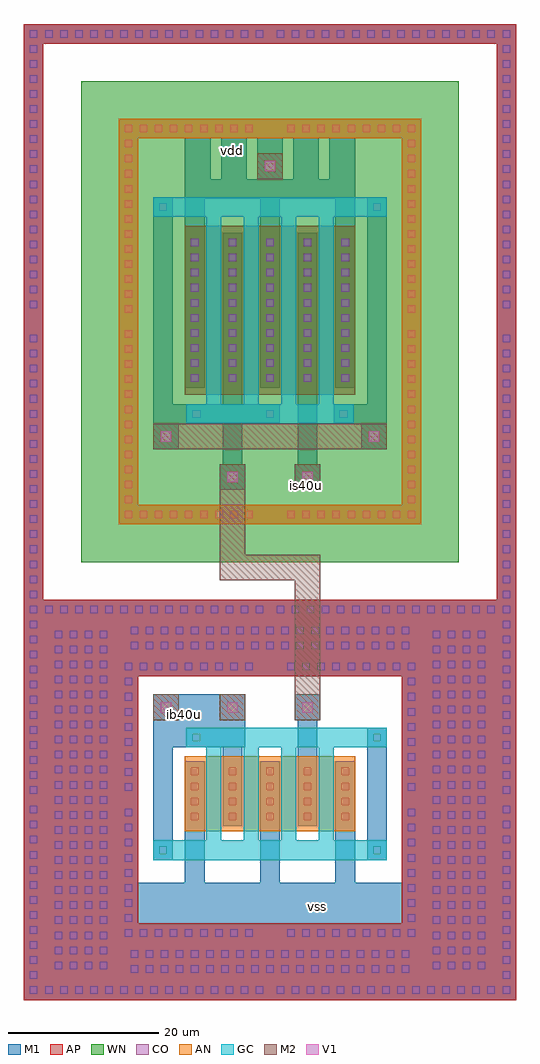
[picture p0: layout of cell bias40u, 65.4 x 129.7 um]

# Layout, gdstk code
import gdstk
lib = gdstk.Library(unit=1e-6, precision=1e-09)
def R(c, l, rs):  # rectangles x0, y0, x1, y1
    for r in rs: c.add(gdstk.rectangle(r[:2], r[2:], *l))
def A(c, l, x, y, w, h, nx, ny, dx, dy):  # array of equal rectangles
    R(c, l, [(x+i*dx, y+j*dy, x+i*dx+w, y+j*dy+h) for i in range(nx) for j in range(ny)])
def P(c, l, *ps):  # polygons
    for p in ps: c.add(gdstk.Polygon(p, *l))
AP = (3, 1)
AN = (3, 2)
GC = (8, 1)
CO = (11, 0)
M1 = (13, 0)
V1 = (19, 0)
M2 = (20, 0)
WN = (140, 0)

cont_g = lib.new_cell('cont_g')
R(cont_g, GC, [(-1.3,-1.3,1.3,1.3)])
R(cont_g, CO, [(-0.5,-0.5,0.5,0.5)])
R(cont_g, M1, [(-1.3,-1.3,1.3,1.3)])

cont_p_20 = lib.new_cell('cont_p$20')
P(cont_p_20, AP, [(-32.7,-39.55),(-32.7,36.95),(-30.1,36.95),(-30.1,-36.95),(30.1,-36.95),(30.1,36.95),(-32.7,36.95),(-32.7,39.55),(32.7,39.55),(32.7,-39.55)])
A(cont_p_20, CO, -31.9, -38.75, 1, 1, 1, 19, 0, 2)
A(cont_p_20, CO, -31.9, -38.75, 1, 1, 16, 2, 2, 76.5)
A(cont_p_20, CO, 0.9, -38.75, 1, 1, 16, 2, 2, 76.5)
A(cont_p_20, CO, 30.9, -38.75, 1, 1, 1, 19, 0, 2)
A(cont_p_20, CO, -31.9, 1.75, 1, 1, 1, 19, 0, 2)
A(cont_p_20, CO, 30.9, 1.75, 1, 1, 1, 19, 0, 2)
P(cont_p_20, M1, [(-32.7,-39.55),(-32.7,36.95),(-30.1,36.95),(-30.1,-36.95),(30.1,-36.95),(30.1,36.95),(-32.7,36.95),(-32.7,39.55),(32.7,39.55),(32.7,-39.55)])

via_1 = lib.new_cell('via_1')
R(via_1, M1, [(-1.7,-1.7,1.7,1.7)])
R(via_1, V1, [(-0.7,-0.7,0.7,0.7)])
R(via_1, M2, [(-1.7,-1.7,1.7,1.7)])

fet_p_6 = lib.new_cell('fet_p$6')
R(fet_p_6, AP, [(-6.3,-11.25,6.3,11.25)])
A(fet_p_6, CO, -5.5, -9.5, 1, 1, 3, 10, 5, 2)
A(fet_p_6, M1, -6.3, -10.3, 2.6, 20.6, 3, 1, 5, 0)
fet_p_6.add(gdstk.FlexPath([(2.5,-12.45),(2.5,12.45)], 2, ends="flush", simple_path=True, layer=8, datatype=1))  # GC
fet_p_6.add(gdstk.FlexPath([(-2.5,-12.45),(-2.5,12.45)], 2, ends="flush", simple_path=True, layer=8, datatype=1))  # GC

cont_n_7 = lib.new_cell('cont_n$7')
P(cont_n_7, AN, [(-20.1,-26.95),(-20.1,24.35),(-17.5,24.35),(-17.5,-24.35),(17.5,-24.35),(17.5,24.35),(-20.1,24.35),(-20.1,26.95),(20.1,26.95),(20.1,-26.95)])
A(cont_n_7, CO, -19.3, -26.15, 1, 1, 1, 13, 0, 2)
A(cont_n_7, CO, -19.3, -26.15, 1, 1, 9, 2, 2, 51.3)
A(cont_n_7, CO, 2.3, -26.15, 1, 1, 9, 2, 2, 51.3)
A(cont_n_7, CO, 18.3, -26.15, 1, 1, 1, 13, 0, 2)
A(cont_n_7, CO, -19.3, 1.15, 1, 1, 1, 13, 0, 2)
A(cont_n_7, CO, 18.3, 1.15, 1, 1, 1, 13, 0, 2)
P(cont_n_7, M1, [(-20.1,-26.95),(-20.1,24.35),(-17.5,24.35),(-17.5,-24.35),(17.5,-24.35),(17.5,24.35),(-20.1,24.35),(-20.1,26.95),(20.1,26.95),(20.1,-26.95)])

p_current_source_pair = lib.new_cell('p_current_source_pair')
R(p_current_source_pair, WN, [(-25.1,-31.95,25.1,31.95)])
p_current_source_pair.add(gdstk.FlexPath([(10,11.8),(10,17.65),(1.3,17.65)], 2.6, ends="flush", simple_path=True, layer=13, datatype=0))  # M1
p_current_source_pair.add(gdstk.FlexPath([(-10,11.8),(-10,17.65),(0,17.65),(0,11.8)], 2.6, ends="flush", simple_path=True, layer=13, datatype=0))  # M1
p_current_source_pair.add(gdstk.FlexPath([(5,-8.8),(5,-18.95)], 2.6, ends="flush", simple_path=True, layer=13, datatype=0))  # M1
p_current_source_pair.add(gdstk.FlexPath([(-5,-8.8),(-5,-18.95)], 2.6, ends="flush", simple_path=True, layer=13, datatype=0))  # M1
p_current_source_pair.add(gdstk.FlexPath([(11.1,-12.25),(14.2,-12.25),(14.2,13.95)], 2.6, ends="flush", simple_path=True, layer=13, datatype=0))  # M1
p_current_source_pair.add(gdstk.FlexPath([(-14.2,13.95),(-14.2,-12.25),(-11.1,-12.25)], 2.6, ends="flush", simple_path=True, layer=13, datatype=0))  # M1
p_current_source_pair.add(gdstk.FlexPath([(-8.5,-12.25),(8.5,-12.25)], 2.6, ends="flush", simple_path=True, layer=8, datatype=1))  # GC
p_current_source_pair.add(gdstk.FlexPath([(-12.9,15.25),(12.9,15.25)], 2.6, ends="flush", simple_path=True, layer=8, datatype=1))  # GC
p_current_source_pair.add(gdstk.FlexPath([(12.1,-15.25),(-12.1,-15.25)], 3.4, ends="flush", simple_path=True, layer=20, datatype=0))  # M2
p_current_source_pair.add(gdstk.Reference(cont_p_20, (0,0)))
p_current_source_pair.add(gdstk.Reference(via_1, (5,-20.65)))
p_current_source_pair.add(gdstk.Reference(via_1, (-5,-20.65)))
p_current_source_pair.add(gdstk.Reference(via_1, (0,20.65)))
p_current_source_pair.add(gdstk.Reference(via_1, (13.8,-15.25)))
p_current_source_pair.add(gdstk.Reference(via_1, (-13.8,-15.25)))
p_current_source_pair.add(gdstk.Reference(cont_g, (14.2,15.25)))
p_current_source_pair.add(gdstk.Reference(cont_g, (-14.2,15.25)))
p_current_source_pair.add(gdstk.Reference(cont_g, (9.8,-12.25)))
p_current_source_pair.add(gdstk.Reference(cont_g, (-9.8,-12.25)))
p_current_source_pair.add(gdstk.Reference(fet_p_6, (5,1.5)))
p_current_source_pair.add(gdstk.Reference(fet_p_6, (-5,1.5)))
p_current_source_pair.add(gdstk.Reference(cont_n_7, (0,0)))

fet_n_8 = lib.new_cell('fet_n$8')
R(fet_n_8, AN, [(-6.3,-5,6.3,5)])
A(fet_n_8, CO, -5.5, -3.5, 1, 1, 3, 4, 5, 2)
A(fet_n_8, M1, -6.3, -4.3, 2.6, 8.6, 3, 1, 5, 0)
fet_n_8.add(gdstk.FlexPath([(2.5,-6.2),(2.5,6.2)], 2, ends="flush", simple_path=True, layer=8, datatype=1))  # GC
fet_n_8.add(gdstk.FlexPath([(-2.5,-6.2),(-2.5,6.2)], 2, ends="flush", simple_path=True, layer=8, datatype=1))  # GC

cont_p_17 = lib.new_cell('cont_p$17')
P(cont_p_17, AP, [(-20.1,-19),(-20.1,16.4),(-17.5,16.4),(-17.5,-16.4),(17.5,-16.4),(17.5,16.4),(-20.1,16.4),(-20.1,19),(20.1,19),(20.1,-19)])
A(cont_p_17, CO, -19.3, -18.2, 1, 1, 1, 9, 0, 2)
A(cont_p_17, CO, -19.3, -18.2, 1, 1, 9, 2, 2, 35.4)
A(cont_p_17, CO, 2.3, -18.2, 1, 1, 9, 2, 2, 35.4)
A(cont_p_17, CO, 18.3, -18.2, 1, 1, 1, 9, 0, 2)
A(cont_p_17, CO, -19.3, 1.2, 1, 1, 1, 9, 0, 2)
A(cont_p_17, CO, 18.3, 1.2, 1, 1, 1, 9, 0, 2)
P(cont_p_17, M1, [(-20.1,-19),(-20.1,16.4),(-17.5,16.4),(-17.5,-16.4),(17.5,-16.4),(17.5,16.4),(-20.1,16.4),(-20.1,19),(20.1,19),(20.1,-19)])

cont_p_18 = lib.new_cell('cont_p$18')
P(cont_p_18, AP, [(-32.7,-26.6),(-32.7,24),(-30.1,24),(-30.1,-24),(30.1,-24),(30.1,24),(-32.7,24),(-32.7,26.6),(32.7,26.6),(32.7,-26.6)])
A(cont_p_18, CO, -31.9, -25.8, 1, 1, 1, 13, 0, 2)
A(cont_p_18, CO, -31.9, -25.8, 1, 1, 16, 2, 2, 50.6)
A(cont_p_18, CO, 0.9, -25.8, 1, 1, 16, 2, 2, 50.6)
A(cont_p_18, CO, 30.9, -25.8, 1, 1, 1, 13, 0, 2)
A(cont_p_18, CO, -31.9, 0.8, 1, 1, 1, 13, 0, 2)
A(cont_p_18, CO, 30.9, 0.8, 1, 1, 1, 13, 0, 2)
P(cont_p_18, M1, [(-32.7,-26.6),(-32.7,24),(-30.1,24),(-30.1,-24),(30.1,-24),(30.1,24),(-32.7,24),(-32.7,26.6),(32.7,26.6),(32.7,-26.6)])

cont_p_28 = lib.new_cell('cont_p$28')
R(cont_p_28, AP, [(-5,-24,5,24)])
A(cont_p_28, CO, -3.5, -22.5, 1, 1, 4, 23, 2, 2)
R(cont_p_28, M1, [(-4.3,-23.3,4.3,23.3)])

cont_p = lib.new_cell('cont_p')
R(cont_p, AP, [(-20.1,-2.5,20.1,2.5)])
A(cont_p, CO, -18.5, -1.5, 1, 1, 19, 2, 2, 2)
R(cont_p, M1, [(-19.3,-2.3,19.3,2.3)])

bias40u = lib.new_cell('bias40u')
R(bias40u, M1, [(-11.75,15.6,-1.75,63.6), (-1.75,15.6,38.45,20.6), (38.45,15.6,48.45,63.6), (0.85,23.2,35.85,28.6), (2.85,46.6,15.05,53.6), (-1.75,58.6,38.45,63.6)])
bias40u.add(gdstk.FlexPath([(8.35,36.1),(8.35,28.6)], 2.6, ends="flush", simple_path=True, layer=13, datatype=0))  # M1
bias40u.add(gdstk.FlexPath([(28.35,36.1),(28.35,28.6)], 2.6, ends="flush", simple_path=True, layer=13, datatype=0))  # M1
bias40u.add(gdstk.FlexPath([(18.35,36.1),(18.35,28.6)], 2.6, ends="flush", simple_path=True, layer=13, datatype=0))  # M1
bias40u.add(gdstk.FlexPath([(9.85,90.9),(17.05,90.9)], 2.6, ends="flush", simple_path=True, layer=13, datatype=0))  # M1
bias40u.add(gdstk.FlexPath([(23.35,44.7),(23.35,50.2)], 2.6, ends="flush", simple_path=True, layer=13, datatype=0))  # M1
bias40u.add(gdstk.FlexPath([(13.35,44.7),(13.35,50.2)], 2.6, ends="flush", simple_path=True, layer=13, datatype=0))  # M1
bias40u.add(gdstk.FlexPath([(4.15,34.2),(4.15,47.9),(7.25,47.9)], 2.6, ends="flush", simple_path=True, layer=13, datatype=0))  # M1
bias40u.add(gdstk.FlexPath([(32.55,34.2),(32.55,46.6)], 2.6, ends="flush", simple_path=True, layer=13, datatype=0))  # M1
bias40u.add(gdstk.FlexPath([(8.75,122.1),(8.75,127.5)], 3.4, ends="flush", simple_path=True, layer=13, datatype=0))  # M1
bias40u.add(gdstk.FlexPath([(18.35,125.5),(18.35,127.5)], 3.4, ends="flush", simple_path=True, layer=13, datatype=0))  # M1
bias40u.add(gdstk.FlexPath([(27.95,122.1),(27.95,127.5)], 3.4, ends="flush", simple_path=True, layer=13, datatype=0))  # M1
bias40u.add(gdstk.FlexPath([(23.15,122.1),(23.15,127.5)], 3.4, ends="flush", simple_path=True, layer=13, datatype=0))  # M1
bias40u.add(gdstk.FlexPath([(13.55,122.1),(13.55,127.5)], 3.4, ends="flush", simple_path=True, layer=13, datatype=0))  # M1
bias40u.add(gdstk.FlexPath([(9.85,47.9),(26.85,47.9)], 2.6, ends="flush", simple_path=True, layer=8, datatype=1))  # GC
bias40u.add(gdstk.FlexPath([(9.85,32.9),(26.85,32.9)], 2.6, ends="flush", simple_path=True, layer=8, datatype=1))  # GC
bias40u.add(gdstk.FlexPath([(5.45,32.9),(9.85,32.9)], 2.6, ends="flush", simple_path=True, layer=8, datatype=1))  # GC
bias40u.add(gdstk.FlexPath([(26.85,32.9),(31.25,32.9)], 2.6, ends="flush", simple_path=True, layer=8, datatype=1))  # GC
bias40u.add(gdstk.FlexPath([(26.85,47.9),(31.25,47.9)], 2.6, ends="flush", simple_path=True, layer=8, datatype=1))  # GC
bias40u.add(gdstk.FlexPath([(13.35,80.8),(13.35,70.45),(23.35,70.45),(23.35,53.6)], 3.4, ends="flush", simple_path=True, layer=20, datatype=0))  # M2
bias40u.add(gdstk.Reference(cont_g, (8.55,47.9)))
bias40u.add(gdstk.Reference(p_current_source_pair, (18.35,103.15)))
bias40u.add(gdstk.Reference(fet_n_8, (13.35,40.4)))
bias40u.add(gdstk.Reference(fet_n_8, (23.35,40.4)))
bias40u.add(gdstk.Reference(cont_p_17, (18.35,39.6)))
bias40u.add(gdstk.Reference(cont_p_18, (18.35,39.6)))
bias40u.add(gdstk.Reference(via_1, (23.35,51.9)))
bias40u.add(gdstk.Reference(via_1, (13.35,51.9)))
bias40u.add(gdstk.Reference(cont_g, (4.15,32.9)))
bias40u.add(gdstk.Reference(cont_p_28, (-6.75,39.6)))
bias40u.add(gdstk.Reference(cont_g, (32.55,32.9)))
bias40u.add(gdstk.Reference(cont_g, (32.55,47.9)))
bias40u.add(gdstk.Reference(via_1, (4.55,51.9)))
bias40u.add(gdstk.Reference(cont_p_28, (43.45,39.6)))
bias40u.add(gdstk.Reference(cont_p, (18.35,61.1)))
bias40u.add(gdstk.Reference(cont_p, (18.35,18.1)))
bias40u.add(gdstk.Reference(cont_g, (18.35,90.9)))
bias40u.add(gdstk.Label('is40u', (23.15,81.4), layer=48, texttype=0))
bias40u.add(gdstk.Label('vdd', (13.4,125.85), layer=48, texttype=0))
bias40u.add(gdstk.Label('ib40u', (7,50.9), layer=48, texttype=0))
bias40u.add(gdstk.Label('vss', (24.65,25.45), layer=48, texttype=0))

lib.write_gds('bias40u.gds')
